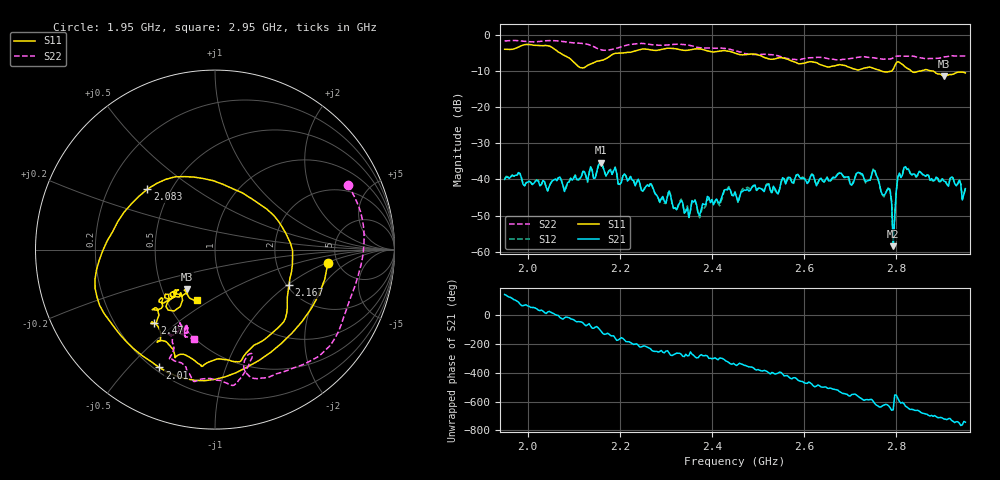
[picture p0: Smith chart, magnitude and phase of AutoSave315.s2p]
!Agilent N9923A: A.07.32
!Date: Thursday, 02 June 2016 23:54:13
!Model: N9923A
!Serial: MY52412257
!GPS Latitude:
!GPS Longitude:
!GPS TimeStamp: 0001-01-01 00:00:00Z
!GPS Seconds Since Last Read: 0
!CHECKSUM:1185708941
!Correction: S11(ON U)S21(ON U)S12(ON U)S22(ON U)
!S2P File: Measurements:S11,S21,S12,S22:
# Hz S DB R 50
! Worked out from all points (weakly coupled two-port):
!   301 points, 1.95 GHz to 2.95 GHz, reference 50 ohm
!   highest |S21| = -35.37 dB at 2.16 GHz (marker M1); lowest = -58.5 dB at 2.793 GHz (marker M2)
!   lowest |S11| = -11.4 dB at 2.903 GHz (marker M3), VSWR 1.74, Z = 33.5 - j16.1 ohm
!   |S11| at or under -10 dB: 2.768 GHz to 2.79 GHz (22.14 MHz wide, 0.797 % of centre); 2.833 GHz to 2.853 GHz (19.79 MHz wide, 0.696 % of centre); 2.88 GHz to end of sweep
!   |S22| runs from -6.9 to -1.5 dB; largest |S21 - S12| = 0.00076
!   S11 on the Smith chart (normalised r, x): 1.95 GHz: 4.19, -1.02; 2.01 GHz: 0.22, -0.61; 2.083 GHz: 0.37, +0.34; 2.167 GHz: 2.06, -1.03; 2.47 GHz: 0.37, -0.42; 2.95 GHz: 0.71, -0.44
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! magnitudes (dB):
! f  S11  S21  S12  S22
! 1.95 GHz  -4.0  -40.0  -39.8  -1.7
! 2.01 GHz  -2.8  -41.4  -41.4  -1.9
! 2.083 GHz  -5.9  -42.0  -42.3  -2.0
! 2.12 GHz  -9.1  -37.8  -37.8  -2.4
! 2.16 GHz  -7.0  -35.4  -35.5  -4.2
! 2.167 GHz  -6.8  -37.8  -37.8  -4.3
! 2.287 GHz  -4.1  -46.2  -46.4  -2.9
! 2.307 GHz  -3.7  -43.3  -42.9  -2.7
! 2.35 GHz  -4.2  -50.5  -50.5  -2.9
! 2.363 GHz  -3.9  -45.7  -45.7  -3.3
! 2.373 GHz  -3.9  -49.9  -50.6  -3.5
! 2.453 GHz  -5.2  -44.9  -44.8  -4.5
! 2.47 GHz  -5.5  -42.9  -42.4  -5.1
! 2.62 GHz  -7.5  -39.0  -38.7  -6.3
! 2.75 GHz  -9.2  -37.4  -37.1  -6.3
! 2.783 GHz  -10.2  -42.5  -42.1  -6.7
! 2.79 GHz  -10.0  -46.7  -46.0  -6.6
! 2.793 GHz  -9.5  -58.5  -58.2  -6.4
! 2.803 GHz  -7.4  -39.4  -39.2  -5.9
! 2.817 GHz  -8.6  -36.7  -36.7  -5.9
! 2.903 GHz  -11.4  -40.4  -40.3  -6.1
! 2.95 GHz  -10.5  -42.5  -42.2  -5.8
